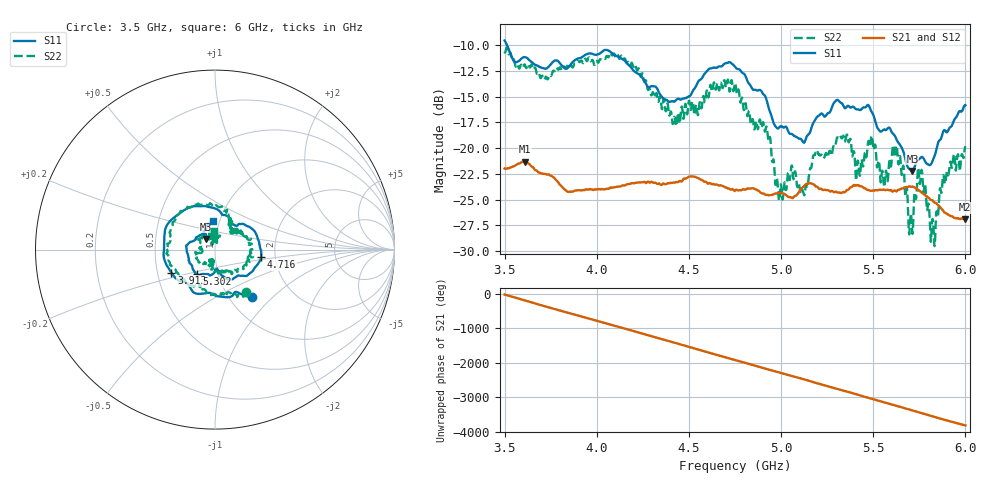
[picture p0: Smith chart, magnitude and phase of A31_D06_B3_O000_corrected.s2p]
! Created with skrf 1.9.0 (http://scikit-rf.org).
# Hz S RI R 50.0
!freq ReS11 ImS11 ReS21 ImS21 ReS12 ImS12 ReS22 ImS22
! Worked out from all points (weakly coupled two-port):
!   1601 points, 3.5 GHz to 6 GHz, reference 50 ohm
!   highest |S21| = -21.31 dB at 3.609 GHz (marker M1); lowest = -26.9 dB at 5.995 GHz (marker M2)
!   lowest |S11| = -22.2 dB at 5.713 GHz (marker M3), VSWR 1.17, Z = 44.9 + j5.33 ohm
!   |S11| at or under -10 dB: 3.513 GHz to end of sweep
!   |S22| runs from -29.5 to -10.3 dB; largest |S21 - S12| = 0.00095
!   S11 on the Smith chart (normalised r, x): 3.5 GHz: 1.27, -0.75; 3.913 GHz: 0.59, -0.17; 4.716 GHz: 1.69, -0.15; 5.302 GHz: 0.79, -0.22; 6 GHz: 0.93, +0.31
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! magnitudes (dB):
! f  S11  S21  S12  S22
! 3.5 GHz  -9.5  -22.0  -21.9  -10.6
! 3.609 GHz  -11.2  -21.3  -21.3  -11.9
! 3.913 GHz  -11.2  -24.1  -24.0  -11.5
! 3.917 GHz  -11.2  -24.1  -24.1  -11.5
! 4.141 GHz  -11.4  -23.6  -23.6  -11.3
! 4.334 GHz  -14.5  -23.4  -23.4  -15.5
! 4.422 GHz  -15.5  -23.3  -23.3  -17.0
! 4.716 GHz  -11.7  -23.9  -24.0  -13.8
! 4.75 GHz  -12.1  -24.1  -24.0  -13.7
! 4.914 GHz  -15.0  -24.5  -24.5  -18.4
! 4.998 GHz  -17.9  -24.4  -24.3  -23.5
! 5.119 GHz  -19.4  -23.8  -23.7  -24.2
! 5.167 GHz  -17.9  -23.5  -23.4  -21.6
! 5.302 GHz  -15.3  -24.3  -24.2  -19.1
! 5.584 GHz  -18.0  -24.1  -24.0  -21.8
! 5.634 GHz  -19.4  -24.0  -24.0  -21.3
! 5.713 GHz  -22.2  -23.7  -23.7  -28.3
! 5.755 GHz  -21.0  -24.2  -24.1  -23.3
! 5.823 GHz  -21.2  -25.1  -25.1  -27.0
! 5.873 GHz  -18.8  -26.0  -25.9  -23.8
! 5.995 GHz  -15.9  -26.9  -26.8  -20.2
! 6 GHz  -15.8  -26.9  -26.8  -19.8
